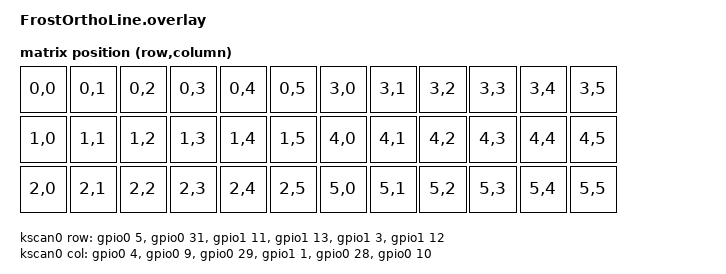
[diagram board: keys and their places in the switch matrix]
#include <dt-bindings/zmk/matrix_transform.h>
#include <physical_layouts.dtsi>
#include <input/processors.dtsi>
#include <dt-bindings/zmk/input_transform.h>
#include <zephyr/dt-bindings/input/input-event-codes.h>
#include <input/processors/runtime-input-processor.dtsi>
#include <dt-bindings/zmk/runtime_input_processor.h>
#include <zephyr/dt-bindings/dt-util.h>
#include <mouse-gesture.dtsi>

// ========================================
// ピン割り当て（XIAO nRF52840 Plus）
// ========================================
//  ROW0 = D5  (P0.05)    COL0 = D4  (P0.04)
//  ROW1 = D16 (P0.31)    COL1 = D14 (P0.09 / NFC1)
//  ROW2 = D6  (P1.11)    COL2 = D3  (P0.29)
//  ROW3 = D8  (P1.13)    COL3 = D13 (P1.01)
//  ROW4 = D17 (P1.03)    COL4 = D2  (P0.28)
//  ROW5 = D7  (P1.12)    COL5 = D15 (P0.10 / NFC2)
//
//  PAW3222 #1 (FPC1)          PAW3222 #2 (FPC2)
//   SCLK   = D18 (P1.05)       SCLK   = D0  (P0.02)
//   SDIO   = D9  (P1.14)       SDIO   = D11 (P0.15)
//   MOTION = D19 (P1.07)       MOTION = D1  (P0.03)
//   CS     = D10 (P1.15)       CS     = D12 (P0.19)

/ {
    chosen {
        zmk,kscan = &kscan0;
        zmk,physical-layout = &physical_layout0;
    };

    physical_layout0: physical_layout_0 {
        compatible = "zmk,physical-layout";
        display-name = "default_layout";

        kscan = <&kscan0>;
        transform = <&default_transform>;

        keys  //                     w   h    x    y     rot    rx    ry
            = <&key_physical_attrs 100 100    0    0       0     0     0>
            , <&key_physical_attrs 100 100  100    0       0     0     0>
            , <&key_physical_attrs 100 100  200    0       0     0     0>
            , <&key_physical_attrs 100 100  300    0       0     0     0>
            , <&key_physical_attrs 100 100  400    0       0     0     0>
            , <&key_physical_attrs 100 100  500    0       0     0     0>
            , <&key_physical_attrs 100 100  600    0       0     0     0>
            , <&key_physical_attrs 100 100  700    0       0     0     0>
            , <&key_physical_attrs 100 100  800    0       0     0     0>
            , <&key_physical_attrs 100 100  900    0       0     0     0>
            , <&key_physical_attrs 100 100 1000    0       0     0     0>
            , <&key_physical_attrs 100 100 1100    0       0     0     0>
            , <&key_physical_attrs 100 100    0  100       0     0     0>
            , <&key_physical_attrs 100 100  100  100       0     0     0>
            , <&key_physical_attrs 100 100  200  100       0     0     0>
            , <&key_physical_attrs 100 100  300  100       0     0     0>
            , <&key_physical_attrs 100 100  400  100       0     0     0>
            , <&key_physical_attrs 100 100  500  100       0     0     0>
            , <&key_physical_attrs 100 100  600  100       0     0     0>
            , <&key_physical_attrs 100 100  700  100       0     0     0>
            , <&key_physical_attrs 100 100  800  100       0     0     0>
            , <&key_physical_attrs 100 100  900  100       0     0     0>
            , <&key_physical_attrs 100 100 1000  100       0     0     0>
            , <&key_physical_attrs 100 100 1100  100       0     0     0>
            , <&key_physical_attrs 100 100    0  200       0     0     0>
            , <&key_physical_attrs 100 100  100  200       0     0     0>
            , <&key_physical_attrs 100 100  200  200       0     0     0>
            , <&key_physical_attrs 100 100  300  200       0     0     0>
            , <&key_physical_attrs 100 100  400  200       0     0     0>
            , <&key_physical_attrs 100 100  500  200       0     0     0>
            , <&key_physical_attrs 100 100  600  200       0     0     0>
            , <&key_physical_attrs 100 100  700  200       0     0     0>
            , <&key_physical_attrs 100 100  800  200       0     0     0>
            , <&key_physical_attrs 100 100  900  200       0     0     0>
            , <&key_physical_attrs 100 100 1000  200       0     0     0>
            , <&key_physical_attrs 100 100 1100  200       0     0     0>
            ;
    };

    // 電気的マトリクス 6行 x 6列 = 36キー → 物理配置 12列 x 3行
    // 想定: 左半分(物理1〜6列目) = ROW0〜ROW2、右半分(物理7〜12列目) = ROW3〜ROW5
    // PCB の実配線と違う場合はここを入れ替えること
    default_transform: keymap_transform_0 {
        compatible = "zmk,matrix-transform";
        columns = <6>;
        rows = <6>;
        map = <
            RC(0,0) RC(0,1) RC(0,2) RC(0,3) RC(0,4) RC(0,5)   RC(3,0) RC(3,1) RC(3,2) RC(3,3) RC(3,4) RC(3,5)
            RC(1,0) RC(1,1) RC(1,2) RC(1,3) RC(1,4) RC(1,5)   RC(4,0) RC(4,1) RC(4,2) RC(4,3) RC(4,4) RC(4,5)
            RC(2,0) RC(2,1) RC(2,2) RC(2,3) RC(2,4) RC(2,5)   RC(5,0) RC(5,1) RC(5,2) RC(5,3) RC(5,4) RC(5,5)
        >;
    };

    kscan0: kscan {
        compatible = "zmk,kscan-gpio-matrix";
        label = "KSCAN";
        wakeup-source;
        diode-direction = "col2row";

        row-gpios
            = <&gpio0  5 (GPIO_ACTIVE_HIGH | GPIO_PULL_DOWN)>  /* ROW0 D5  */
            , <&gpio0 31 (GPIO_ACTIVE_HIGH | GPIO_PULL_DOWN)>  /* ROW1 D16 */
            , <&gpio1 11 (GPIO_ACTIVE_HIGH | GPIO_PULL_DOWN)>  /* ROW2 D6  */
            , <&gpio1 13 (GPIO_ACTIVE_HIGH | GPIO_PULL_DOWN)>  /* ROW3 D8  */
            , <&gpio1  3 (GPIO_ACTIVE_HIGH | GPIO_PULL_DOWN)>  /* ROW4 D17 */
            , <&gpio1 12 (GPIO_ACTIVE_HIGH | GPIO_PULL_DOWN)>  /* ROW5 D7  */
            ;

        col-gpios
            = <&gpio0  4 GPIO_ACTIVE_HIGH>  /* COL0 D4  */
            , <&gpio0  9 GPIO_ACTIVE_HIGH>  /* COL1 D14 */
            , <&gpio0 29 GPIO_ACTIVE_HIGH>  /* COL2 D3  */
            , <&gpio1  1 GPIO_ACTIVE_HIGH>  /* COL3 D13 */
            , <&gpio0 28 GPIO_ACTIVE_HIGH>  /* COL4 D2  */
            , <&gpio0 10 GPIO_ACTIVE_HIGH>  /* COL5 D15 */
            ;
    };
};

// ========================================
// ポインティング設定（DYA Studio から変更可能）
// ここの値は初期値。DYA Studio で保存した設定があればそちらが優先される
// ========================================

// PAW3222 #1: カーソル移動 + AML
&mouse_runtime_input_processor {
    scale-multiplier = <2>; // カーソル移動量2/3倍
    scale-divisor = <3>;
    x-invert; // カーソルの移動方向調整（センサーの向きに合わせて変更）
    y-invert;

    // AML（自動マウスレイヤー）
    temp-layer-enabled;
    temp-layer = <6>;
    temp-layer-activation-delay-ms = <400>; // キー入力後400ms以内はAMLに切り替わらない
    temp-layer-deactivation-delay-ms = <65535>; // タイムアウト時間（最大65535ms）
};

// PAW3222 #1: 縦スクロール（レイヤー5押下中）
&scroll_runtime_input_processor {
    x-codes = <INPUT_REL_X>;
    y-codes = <INPUT_REL_Y>;
    xy-to-scroll-enabled;
    active-layers = <BIT(5)>;
    scale-multiplier = <2>;
    scale-divisor = <3>;
    x-invert;
    y-invert;
    axis-snap-mode = <AXIS_SNAP_MODE_Y>;
    axis-snap-threshold = <65535>;
};

/ {
    // PAW3222 #1: 横スクロール（レイヤー7押下中）
    hscroll_runtime_input_processor: hscroll_runtime_input_processor {
        compatible = "zmk,input-processor-runtime";
        processor-label = "hscroll";
        type = <INPUT_EV_REL>;
        x-codes = <INPUT_REL_X>;
        y-codes = <INPUT_REL_Y>;
        xy-to-scroll-enabled;
        active-layers = <BIT(7)>;
        scale-multiplier = <2>;
        scale-divisor = <3>;
        rotation-degrees = <0>;
        track-remainders;
        axis-snap-mode = <AXIS_SNAP_MODE_X>;
        axis-snap-threshold = <65535>;

        temp-layer-transparent-behavior = <&trans>;
        temp-layer-kp-behavior = <&kp>;
        temp-layer-keep-keycodes = <LEFT_CONTROL LEFT_SHIFT LEFT_ALT LEFT_GUI RIGHT_CONTROL RIGHT_SHIFT RIGHT_ALT RIGHT_GUI>;

        #input-processor-cells = <0>;
    };

    // PAW3222 #2: 常時スクロール（縦優先、横に大きく動かすとロック解除）
    scroll2_runtime_input_processor: scroll2_runtime_input_processor {
        compatible = "zmk,input-processor-runtime";
        processor-label = "scroll2";
        type = <INPUT_EV_REL>;
        x-codes = <INPUT_REL_X>;
        y-codes = <INPUT_REL_Y>;
        xy-to-scroll-enabled;
        scale-multiplier = <2>;
        scale-divisor = <3>;
        rotation-degrees = <0>;
        track-remainders;
        x-invert;
        y-invert;
        axis-snap-mode = <AXIS_SNAP_MODE_Y>;
        axis-snap-threshold = <100>;

        temp-layer-transparent-behavior = <&trans>;
        temp-layer-kp-behavior = <&kp>;
        temp-layer-keep-keycodes = <LEFT_CONTROL LEFT_SHIFT LEFT_ALT LEFT_GUI RIGHT_CONTROL RIGHT_SHIFT RIGHT_ALT RIGHT_GUI>;

        #input-processor-cells = <0>;
    };

    trackball1_listener: trackball1_listener {
        compatible = "zmk,input-listener";
        status = "okay";
        device = <&trackball1>;

        input-processors = <
            &mouse_runtime_input_processor
            &zip_mouse_gesture // マウスジェスチャー（方向調整後に置くこと）
            &scroll_runtime_input_processor
            &hscroll_runtime_input_processor
        >;
    };

    trackball2_listener: trackball2_listener {
        compatible = "zmk,input-listener";
        status = "okay";
        device = <&trackball2>;

        input-processors = <
            &scroll2_runtime_input_processor
        >;
    };
};

// ========================================
// SPI
// PAW3222 は 3線式 SPI（SDIO 1本で送受信）なので MOSI と MISO を同じピンにする
// ========================================

// 基板標準の spi2 (xiao_spi) は D8〜D10 (P1.13〜P1.15) を使うため、
// ROW3 / SDIO1 / CS1 と衝突しないよう無効化する
&spi2 {
    status = "disabled";
};

// spi0 / spi1 は i2c0 / i2c1 と同じペリフェラルを共有するため無効化しておく
&i2c0 {
    status = "disabled";
};

&i2c1 {
    status = "disabled";
};

&pinctrl {
    spi0_default: spi0_default {
        group1 {
            psels = <NRF_PSEL(SPIM_SCK, 1, 5)>,
                <NRF_PSEL(SPIM_MOSI, 1, 14)>,
                <NRF_PSEL(SPIM_MISO, 1, 14)>;
        };
    };

    spi0_sleep: spi0_sleep {
        group1 {
            psels = <NRF_PSEL(SPIM_SCK, 1, 5)>,
                <NRF_PSEL(SPIM_MOSI, 1, 14)>,
                <NRF_PSEL(SPIM_MISO, 1, 14)>;
            low-power-enable;
        };
    };

    spi1_default: spi1_default {
        group1 {
            psels = <NRF_PSEL(SPIM_SCK, 0, 2)>,
                <NRF_PSEL(SPIM_MOSI, 0, 15)>,
                <NRF_PSEL(SPIM_MISO, 0, 15)>;
        };
    };

    spi1_sleep: spi1_sleep {
        group1 {
            psels = <NRF_PSEL(SPIM_SCK, 0, 2)>,
                <NRF_PSEL(SPIM_MOSI, 0, 15)>,
                <NRF_PSEL(SPIM_MISO, 0, 15)>;
            low-power-enable;
        };
    };
};

// PAW3222 #1 (FPC1)
&spi0 {
    status = "okay";
    compatible = "nordic,nrf-spim";
    pinctrl-0 = <&spi0_default>;
    pinctrl-1 = <&spi0_sleep>;
    pinctrl-names = "default", "sleep";
    cs-gpios = <&gpio1 15 GPIO_ACTIVE_LOW>;

    trackball1: trackball@0 {
        status = "okay";
        compatible = "pixart,paw3222";
        reg = <0>;
        spi-max-frequency = <2000000>;
        irq-gpios = <&gpio1 7 (GPIO_ACTIVE_LOW | GPIO_PULL_UP)>;
        res-cpi = <1500>;
    };
};

// PAW3222 #2 (FPC2)
&spi1 {
    status = "okay";
    compatible = "nordic,nrf-spim";
    pinctrl-0 = <&spi1_default>;
    pinctrl-1 = <&spi1_sleep>;
    pinctrl-names = "default", "sleep";
    cs-gpios = <&gpio0 19 GPIO_ACTIVE_LOW>;

    trackball2: trackball@0 {
        status = "okay";
        compatible = "pixart,paw3222";
        reg = <0>;
        spi-max-frequency = <2000000>;
        irq-gpios = <&gpio0 3 (GPIO_ACTIVE_LOW | GPIO_PULL_UP)>;
        res-cpi = <1500>;
    };
};
